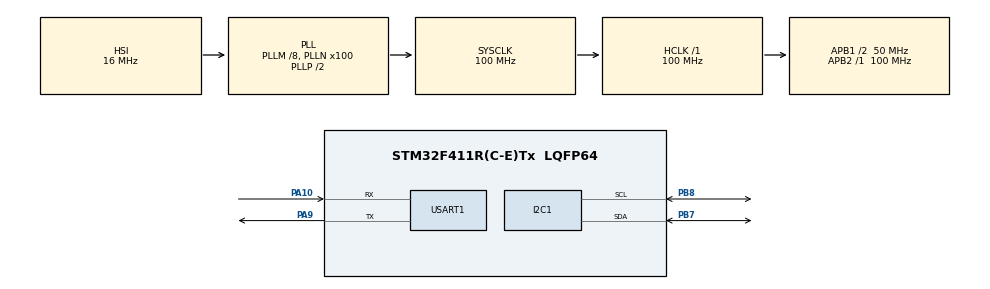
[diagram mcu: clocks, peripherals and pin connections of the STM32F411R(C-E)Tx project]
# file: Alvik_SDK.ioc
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I2C1.I2C_Mode=I2C_Fast
Mcu.Family=STM32F4
Mcu.Name=STM32F411R(C-E)Tx
Mcu.Package=LQFP64
NVIC.PriorityGroup=NVIC_PRIORITYGROUP_4
NVIC.TIM1_UP_TIM10_IRQn=true\:0\:0\:false\:false\:true\:true\:true\:true
PA10.Mode=Asynchronous
PA10.Signal=USART1_RX
PA13.Mode=Serial_Wire
PA13.Signal=SYS_JTMS-SWDIO
PA14.Mode=Serial_Wire
PA14.Signal=SYS_JTCK-SWCLK
PA9.Mode=Asynchronous
PA9.Signal=USART1_TX
PB7.Mode=I2C
PB7.Signal=I2C1_SDA
PB8.Mode=I2C
PB8.Signal=I2C1_SCL
ProjectManager.HeapSize=0x200
ProjectManager.StackSize=0x400
ProjectManager.TargetToolchain=CMake
RCC.48MHZClocksFreq_Value=50000000
RCC.AHBFreq_Value=100000000
RCC.APB1CLKDivider=RCC_HCLK_DIV2
RCC.APB1Freq_Value=50000000
RCC.APB1TimFreq_Value=100000000
RCC.APB2Freq_Value=100000000
RCC.APB2TimFreq_Value=100000000
RCC.CortexFreq_Value=100000000
RCC.HCLKFreq_Value=100000000
RCC.HSE_VALUE=25000000
RCC.HSI_VALUE=16000000
RCC.LSE_VALUE=32768
RCC.PLLM=8
RCC.PLLN=100
RCC.SYSCLKFreq_VALUE=100000000
RCC.SYSCLKSource=RCC_SYSCLKSOURCE_PLLCLK
RCC.VCOOutputFreq_Value=200000000
TIM10.Period=99
TIM10.Prescaler=99
USART1.Parity=PARITY_EVEN
USART1.VirtualMode=VM_ASYNC
USART1.WordLength=WORDLENGTH_9B
VP_TIM10_VS_ClockSourceINT.Mode=Enable_Timer
board=custom

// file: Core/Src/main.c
/* USER CODE BEGIN Header */
/**
  ******************************************************************************
  * @file           : main.c
  * @brief          : Main program body
  ******************************************************************************
  * @attention
  *
  * Copyright (c) 2026 STMicroelectronics.
  * All rights reserved.
  *
  * This software is licensed under terms that can be found in the LICENSE file
  * in the root directory of this software component.
  * If no LICENSE file comes with this software, it is provided AS-IS.
  *
  ******************************************************************************
  */
/* USER CODE END Header */
#include "main.h"

/* USER CODE BEGIN Includes */
#include <stdio.h>
#include <string.h>
#include "alvik.h"
#include "scade_control.h"
/* USER CODE END Includes */

/* USER CODE BEGIN PD */
#define TEST_RPM            30.0f   // wheel speed setpoint for the bring-up test
#define START_DELAY_MS      2000u   // time to put the robot down/lift it before the wheels turn
#define TELEMETRY_MS        100u
#define BLINK_MS            250u
/* USER CODE END PD */

I2C_HandleTypeDef hi2c1;

TIM_HandleTypeDef htim10;

UART_HandleTypeDef huart1;

void SystemClock_Config(void);
static void MX_GPIO_Init(void);
static void MX_TIM10_Init(void);
static void MX_USART1_UART_Init(void);
static void MX_I2C1_Init(void);

/* USER CODE BEGIN 0 */
/* newlib-nano's printf has no %f: print one decimal from tenths */
static void rpm_str(char * buf, size_t len, float rpm){
  int t = (int)(rpm * 10.0f);
  int a = (t < 0) ? -t : t;
  snprintf(buf, len, "%s%d.%d", (t < 0) ? "-" : "", a / 10, a % 10);
}

/* One line per call over USART1, read on the PC through the ESP32 bridge */
static void send_telemetry(void){
  char lt[12], lm[12], rt[12], rm[12], line[80];
  rpm_str(lt, sizeof(lt), scade_control_get_target(MOTOR_LEFT));
  rpm_str(lm, sizeof(lm), motor_get_rpm(MOTOR_LEFT));
  rpm_str(rt, sizeof(rt), scade_control_get_target(MOTOR_RIGHT));
  rpm_str(rm, sizeof(rm), motor_get_rpm(MOTOR_RIGHT));
  int n = snprintf(line, sizeof(line), "L target %s enc %s  |  R target %s enc %s rpm\r\n", lt, lm, rt, rm);
  HAL_UART_Transmit(&huart1, (uint8_t *)line, (uint16_t)n, 10);
}

static void send_text(const char * s){
  HAL_UART_Transmit(&huart1, (const uint8_t *)s, (uint16_t)strlen(s), 10);
}

/* Same as rpm_str, with two decimals */
static void g_str(char * buf, size_t len, float g){
  int t = (int)(g * 100.0f);
  int a = (t < 0) ? -t : t;
  snprintf(buf, len, "%s%d.%02d", (t < 0) ? "-" : "", a / 100, a % 100);
}

/* Accelerometer (g) and gyro (deg/s) on one line */
static void send_imu(void){
  imu_data_t d;
  if (!imu_read(&d)){
    send_text("imu read failed\r\n");
    return;
  }
  char ax[12], ay[12], az[12], gx[12], gy[12], gz[12], line[96];
  g_str(ax, sizeof(ax), d.ax);
  g_str(ay, sizeof(ay), d.ay);
  g_str(az, sizeof(az), d.az);
  rpm_str(gx, sizeof(gx), d.gx);
  rpm_str(gy, sizeof(gy), d.gy);
  rpm_str(gz, sizeof(gz), d.gz);
  int n = snprintf(line, sizeof(line), "acc %s %s %s g  |  gyro %s %s %s dps\r\n", ax, ay, az, gx, gy, gz);
  HAL_UART_Transmit(&huart1, (uint8_t *)line, (uint16_t)n, 10);
}
/* USER CODE END 0 */

int main(void)
{

  /* USER CODE BEGIN 1 */
  /* Started by the bootloader's Go command with BOOT0 still high: address 0
     maps to system memory, so point the vector table at our flash. */
  SCB->VTOR = FLASH_BASE;
  /* USER CODE END 1 */

  /* MCU Configuration--------------------------------------------------------*/

  /* Reset of all peripherals, Initializes the Flash interface and the Systick. */
  HAL_Init();

  /* Configure the system clock */
  SystemClock_Config();

  /* Initialize all configured peripherals */
  MX_GPIO_Init();
  MX_TIM10_Init();
  MX_USART1_UART_Init();
  MX_I2C1_Init();
  /* USER CODE BEGIN 2 */
  /* Heartbeat on LED_BUILTIN (PC8); remove once PC8 is set up in CubeMX */
  __HAL_RCC_GPIOC_CLK_ENABLE();
  GPIO_InitTypeDef led = {0};
  led.Pin = GPIO_PIN_8;
  led.Mode = GPIO_MODE_OUTPUT_PP;
  led.Pull = GPIO_NOPULL;
  led.Speed = GPIO_SPEED_FREQ_LOW;
  HAL_GPIO_Init(GPIOC, &led);

  send_text("\r\nAlvik_SDK motor test: wheels start in 2 s\r\n");
  bool imu_ok = imu_init(&hi2c1);
  send_text(imu_ok ? "IMU ok\r\n" : "IMU not found\r\n");
  HAL_Delay(START_DELAY_MS);

  alvik_init(&htim10);                  // motors off, encoders running, 10 kHz tick on TIM10

  scade_control_init();                 // SCADE model state for both wheels
  scade_control_set_rpm(MOTOR_LEFT, TEST_RPM);
  scade_control_set_rpm(MOTOR_RIGHT, TEST_RPM);
  timer_start(scade_control_step);      // run the SCADE model on every tick

  uint32_t last_blink = HAL_GetTick();
  uint32_t last_telemetry = last_blink;
  /* USER CODE END 2 */

  /* Infinite loop */
  while (1)
  {

    /* USER CODE BEGIN 3 */
    uint32_t now = HAL_GetTick();
    if (now - last_blink >= BLINK_MS){
      last_blink = now;
      HAL_GPIO_TogglePin(GPIOC, GPIO_PIN_8);
    }
    if (now - last_telemetry >= TELEMETRY_MS){
      last_telemetry = now;
      send_telemetry();
      if (imu_ok){
        send_imu();
      }
    }
  }
  /* USER CODE END 3 */
}

void SystemClock_Config(void)
{
  RCC_OscInitTypeDef RCC_OscInitStruct = {0};
  RCC_ClkInitTypeDef RCC_ClkInitStruct = {0};

  /** Configure the main internal regulator output voltage
  */
  __HAL_RCC_PWR_CLK_ENABLE();
  __HAL_PWR_VOLTAGESCALING_CONFIG(PWR_REGULATOR_VOLTAGE_SCALE1);

  /** Initializes the RCC Oscillators according to the specified parameters
  * in the RCC_OscInitTypeDef structure.
  */
  RCC_OscInitStruct.OscillatorType = RCC_OSCILLATORTYPE_HSI;
  RCC_OscInitStruct.HSIState = RCC_HSI_ON;
  RCC_OscInitStruct.HSICalibrationValue = RCC_HSICALIBRATION_DEFAULT;
  RCC_OscInitStruct.PLL.PLLState = RCC_PLL_ON;
  RCC_OscInitStruct.PLL.PLLSource = RCC_PLLSOURCE_HSI;
  RCC_OscInitStruct.PLL.PLLM = 8;
  RCC_OscInitStruct.PLL.PLLN = 100;
  RCC_OscInitStruct.PLL.PLLP = RCC_PLLP_DIV2;
  RCC_OscInitStruct.PLL.PLLQ = 4;
  if (HAL_RCC_OscConfig(&RCC_OscInitStruct) != HAL_OK)
  {
    Error_Handler();
  }

  /** Initializes the CPU, AHB and APB buses clocks
  */
  RCC_ClkInitStruct.ClockType = RCC_CLOCKTYPE_HCLK|RCC_CLOCKTYPE_SYSCLK
                              |RCC_CLOCKTYPE_PCLK1|RCC_CLOCKTYPE_PCLK2;
  RCC_ClkInitStruct.SYSCLKSource = RCC_SYSCLKSOURCE_PLLCLK;
  RCC_ClkInitStruct.AHBCLKDivider = RCC_SYSCLK_DIV1;
  RCC_ClkInitStruct.APB1CLKDivider = RCC_HCLK_DIV2;
  RCC_ClkInitStruct.APB2CLKDivider = RCC_HCLK_DIV1;

  if (HAL_RCC_ClockConfig(&RCC_ClkInitStruct, FLASH_LATENCY_3) != HAL_OK)
  {
    Error_Handler();
  }
}

static void MX_I2C1_Init(void)
{

  hi2c1.Instance = I2C1;
  hi2c1.Init.ClockSpeed = 400000;
  hi2c1.Init.DutyCycle = I2C_DUTYCYCLE_2;
  hi2c1.Init.OwnAddress1 = 0;
  hi2c1.Init.AddressingMode = I2C_ADDRESSINGMODE_7BIT;
  hi2c1.Init.DualAddressMode = I2C_DUALADDRESS_DISABLE;
  hi2c1.Init.OwnAddress2 = 0;
  hi2c1.Init.GeneralCallMode = I2C_GENERALCALL_DISABLE;
  hi2c1.Init.NoStretchMode = I2C_NOSTRETCH_DISABLE;
  if (HAL_I2C_Init(&hi2c1) != HAL_OK)
  {
    Error_Handler();
  }

}

static void MX_TIM10_Init(void)
{

  htim10.Instance = TIM10;
  htim10.Init.Prescaler = 99;
  htim10.Init.CounterMode = TIM_COUNTERMODE_UP;
  htim10.Init.Period = 99;
  htim10.Init.ClockDivision = TIM_CLOCKDIVISION_DIV1;
  htim10.Init.AutoReloadPreload = TIM_AUTORELOAD_PRELOAD_DISABLE;
  if (HAL_TIM_Base_Init(&htim10) != HAL_OK)
  {
    Error_Handler();
  }

}

static void MX_USART1_UART_Init(void)
{

  huart1.Instance = USART1;
  huart1.Init.BaudRate = 115200;
  huart1.Init.WordLength = UART_WORDLENGTH_9B;
  huart1.Init.StopBits = UART_STOPBITS_1;
  huart1.Init.Parity = UART_PARITY_EVEN;
  huart1.Init.Mode = UART_MODE_TX_RX;
  huart1.Init.HwFlowCtl = UART_HWCONTROL_NONE;
  huart1.Init.OverSampling = UART_OVERSAMPLING_16;
  if (HAL_UART_Init(&huart1) != HAL_OK)
  {
    Error_Handler();
  }

}

static void MX_GPIO_Init(void)
{

  /* GPIO Ports Clock Enable */
  __HAL_RCC_GPIOA_CLK_ENABLE();
  __HAL_RCC_GPIOB_CLK_ENABLE();

}

void Error_Handler(void)
{
  __disable_irq();
  while (1)
  {
  }
}
